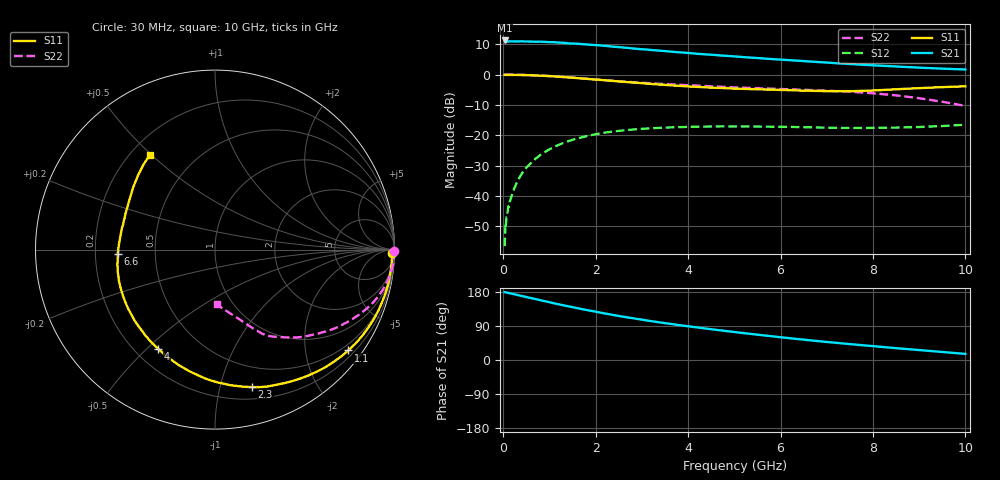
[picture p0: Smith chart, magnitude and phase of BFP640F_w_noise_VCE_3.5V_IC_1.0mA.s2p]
! Infineon Technologies  Discrete & RF Semiconductors
! BFP640F
! VCE =  3.5 V,  IC =  1.0 mA
! Common Emitter S-Parameters:  Apr 2013
# GHz  S  MA  R  50
!  f  S11  S21  S12  S22
! GHz  MAG  ANG  MAG  ANG  MAG  ANG  MAG  ANG
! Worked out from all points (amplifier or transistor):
!   99 points, 30 MHz to 10 GHz, reference 50 ohm
!   highest |S21| = 11.2 dB at 30 MHz (marker M1)
!   |S21| within 3 dB of that: start of sweep to 3.112 GHz
!   unconditionally stable (mu >= 1): 6.382 GHz to end of sweep
!   at 350 MHz: K = -0.01, MSG = 22.4 dB, |S12| = -33.9 dB
!   at 3.5 GHz: K = 0.52, MSG = 12.6 dB, |S12| = -17.5 dB
!   at 10 GHz: K = 1.37, MAG = 5.5 dB, |S12| = -16.5 dB
!   lowest NFmin = 0.52 dB at 450 MHz
!   S11 on the Smith chart (normalised r, x): 30 MHz: 46, -77; 1.1 GHz: 0.35, -2.94; 2.3 GHz: 0.30, -1.26; 4 GHz: 0.29, -0.54; 6.6 GHz: 0.30, -0.02; 10 GHz: 0.28, +0.49
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0.03  0.9886 -1.1  3.638 179.2  0.0015 75.1  0.9993 -0.5
0.04  0.9889 -1.4  3.442 178.9  0.0021 82.3  0.999 -0.6
0.05  0.9891 -1.8  3.458 178.8  0.0037 95.5  1 -0.8
0.06  0.9873 -2.0  3.455 178.2  0.0034 89.6  1 -1.0
0.07  0.9874 -2.4  3.455 178.0  0.0045 96.6  0.9993 -1.1
0.08  0.9873 -2.7  3.483 177.8  0.0045 86.3  0.9985 -1.3
0.11  0.9876 -3.7  3.486 177.0  0.0068 87.4  0.9989 -1.8
0.3  0.9846 -10.1  3.505 171.8  0.0171 85.5  0.994 -5.1
0.6  0.9722 -20.2  3.487 163.4  0.035 80.3  0.9781 -10.0
1.1  0.9314 -37.1  3.407 149.6  0.0643 69.2  0.9344 -17.7
1.7  0.8618 -56.4  3.168 134.4  0.0927 56.6  0.8661 -25.8
2.1  0.8164 -69.1  3.016 125.0  0.1075 49.0  0.8197 -31.0
2.3  0.7933 -74.9  2.916 120.6  0.1133 45.5  0.7985 -33.3
2.9  0.7305 -91.5  2.648 108.3  0.1261 36.7  0.7416 -39.1
3.4  0.6826 -104.6  2.465 99.0  0.1327 30.9  0.7026 -43.3
4  0.6377 -119.6  2.262 89.0  0.1377 25.1  0.6678 -47.1
5.1  0.585 -145.8  1.963 72.4  0.1402 17.3  0.6129 -52.8
6  0.5574 -164.9  1.765 60.1  0.138 13.5  0.5773 -56.8
6.6  0.5424 -177.4  1.643 52.4  0.1357 11.9  0.5569 -59.1
6.7  0.5394 -179.5  1.626 51.2  0.1351 11.7  0.5534 -59.4
8.5  0.5722 142.9  1.357 31.2  0.1341 14.5  0.4544 -66.8
10  0.6405 124.5  1.212 16.1  0.1494 18.2  0.3051 -88.4
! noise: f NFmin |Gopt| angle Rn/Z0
0.45  0.52  0.75  11  0.34
0.9  0.69  0.71  23  0.33
1.5  0.87  0.7  32  0.32
1.9  0.98  0.65  47  0.31
2.4  1.13  0.64  66  0.3
3.5  1.33  0.56  84  0.28
5.5  1.77  0.48  144  0.26
10  2.96  0.61  -113  0.48
